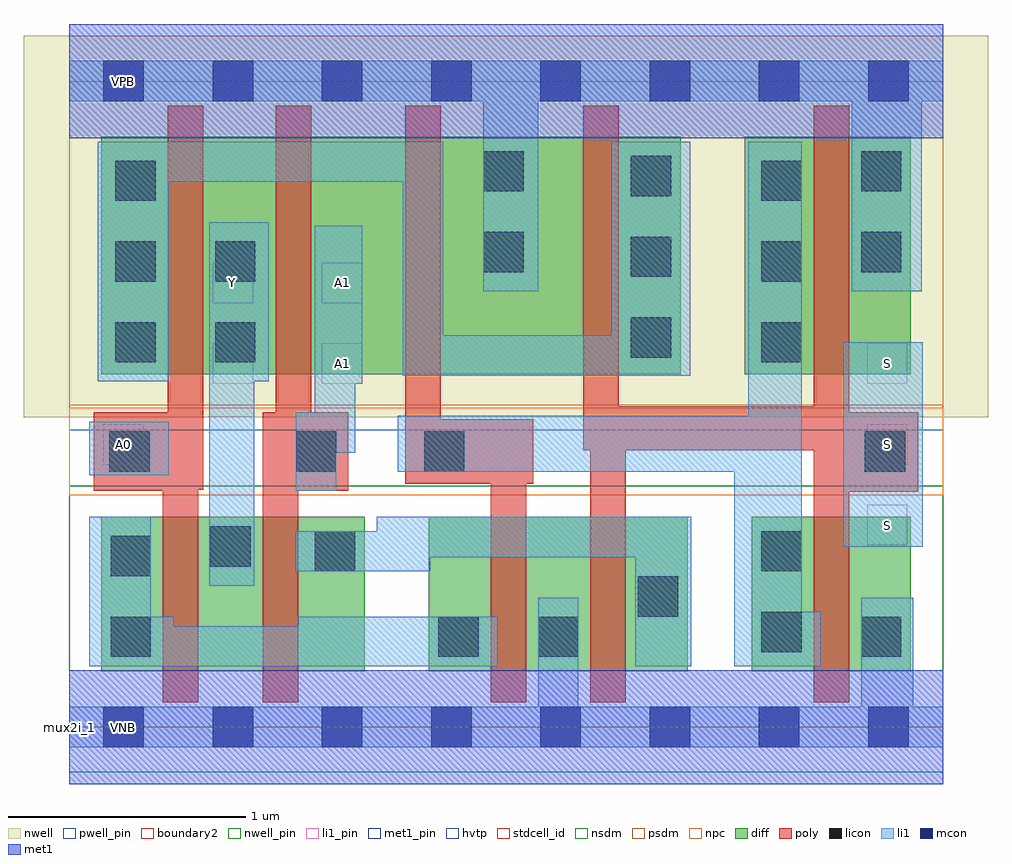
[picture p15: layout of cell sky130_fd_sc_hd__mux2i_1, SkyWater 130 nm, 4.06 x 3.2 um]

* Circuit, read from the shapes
.subckt sky130_fd_sc_hd__mux2i_1 A0 A1 S VGND VNB VPB VPWR Y
XM1 Y A0 n1 VNB sky130_fd_pr__nfet_01v8 w=0.65 l=0.15
XM2 n2 A1 Y VNB sky130_fd_pr__nfet_01v8 w=0.65 l=0.15
XM3 VGND n3 n1 VNB sky130_fd_pr__nfet_01v8 w=0.65 l=0.15
XM4 n2 S VGND VNB sky130_fd_pr__nfet_01v8 w=0.65 l=0.15
XM5 VGND S n3 VNB sky130_fd_pr__nfet_01v8 w=0.65 l=0.15
XM6 Y A0 n4 VPB sky130_fd_pr__pfet_01v8_hvt w=1 l=0.15
XM7 n5 A1 Y VPB sky130_fd_pr__pfet_01v8_hvt w=1 l=0.15
XM8 VPWR n3 n5 VPB sky130_fd_pr__pfet_01v8_hvt w=1 l=0.15
XM9 n4 S VPWR VPB sky130_fd_pr__pfet_01v8_hvt w=1 l=0.15
XM10 VPWR S n3 VPB sky130_fd_pr__pfet_01v8_hvt w=1 l=0.15
.ends

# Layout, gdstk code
import gdstk
lib = gdstk.Library(unit=1e-6, precision=1e-09)
def R(c, l, rs):  # rectangles x0, y0, x1, y1
    for r in rs: c.add(gdstk.rectangle(r[:2], r[2:], *l))
def A(c, l, x, y, w, h, nx, ny, dx, dy):  # array of equal rectangles
    R(c, l, [(x+i*dx, y+j*dy, x+i*dx+w, y+j*dy+h) for i in range(nx) for j in range(ny)])
def P(c, l, *ps):  # polygons
    for p in ps: c.add(gdstk.Polygon(p, *l))
nwell_pin = (64, 16)
nwell = (64, 20)
diff = (65, 20)
poly = (66, 20)
licon = (66, 44)
li1_pin = (67, 16)
li1 = (67, 20)
mcon = (67, 44)
met1_pin = (68, 16)
met1 = (68, 20)
hvtp = (78, 44)
stdcell_id = (81, 4)
nsdm = (93, 44)
psdm = (94, 20)
npc = (95, 20)
pwell_pin = (122, 16)
boundary2 = (236, 0)

sky130_fd_sc_hd__mux2i_1 = lib.new_cell('sky130_fd_sc_hd__mux2i_1')
R(sky130_fd_sc_hd__mux2i_1, nwell_pin, [(0.145,2.635,0.315,2.805)])
R(sky130_fd_sc_hd__mux2i_1, nwell, [(-0.19,1.305,3.87,2.91)])
R(sky130_fd_sc_hd__mux2i_1, diff, [(0.135,0.235,1.245,0.885), (1.515,0.235,2.605,0.885), (2.875,0.235,3.545,0.885), (0.135,1.485,2.575,2.485), (2.845,1.485,3.545,2.485)])
R(sky130_fd_sc_hd__mux2i_1, poly, [(1.775,0.105,1.925,1.025), (2.195,0.105,2.345,1.165)])
P(sky130_fd_sc_hd__mux2i_1, poly, [(0.395,0.105),(0.395,0.995),(0.105,0.995),(0.105,1.325),(0.415,1.325),(0.415,2.615),(0.565,2.615),(0.565,1),(0.545,1),(0.545,0.105)],
  [(0.815,0.105),(0.815,1.325),(0.87,1.325),(0.87,2.615),(1.02,2.615),(1.02,1.325),(1.175,1.325),(1.175,0.995),(0.965,0.995),(0.965,0.105)],
  [(3.135,0.105),(3.135,1.165),(2.165,1.165),(2.165,2.615),(2.315,2.615),(2.315,1.35),(3.135,1.35),(3.135,2.615),(3.285,2.615),(3.285,1.325),(3.575,1.325),(3.575,0.99),(3.285,0.99),(3.285,0.105)],
  [(1.415,1.025),(1.415,2.615),(1.565,2.615),(1.565,1.295),(1.955,1.295),(1.955,1.025)])
A(sky130_fd_sc_hd__mux2i_1, licon, 0.195, 1.535, 0.17, 0.17, 1, 3, 0, 0.34)
A(sky130_fd_sc_hd__mux2i_1, licon, 2.915, 1.535, 0.17, 0.17, 1, 3, 0, 0.34)
A(sky130_fd_sc_hd__mux2i_1, licon, 2.365, 1.555, 0.17, 0.17, 1, 3, 0, 0.34)
R(sky130_fd_sc_hd__mux2i_1, licon, [(0.175,0.295,0.345,0.465), (1.555,0.295,1.725,0.465), (1.975,0.295,2.145,0.465), (3.335,0.295,3.505,0.465), (2.915,0.315,3.085,0.485), (2.395,0.465,2.565,0.635), (0.175,0.635,0.345,0.805), (1.035,0.655,1.205,0.825), (2.915,0.655,3.085,0.825), (0.595,0.675,0.765,0.845), (0.17,1.075,0.34,1.245), (0.955,1.075,1.125,1.245), (1.495,1.075,1.665,1.245), (3.35,1.075,3.52,1.245), (0.615,1.535,0.785,1.705), (0.615,1.875,0.785,2.045), (1.745,1.915,1.915,2.085), (3.335,1.915,3.505,2.085), (1.745,2.255,1.915,2.425), (3.335,2.255,3.505,2.425)])
A(sky130_fd_sc_hd__mux2i_1, li1_pin, 3.36, 0.765, 0.17, 0.17, 1, 3, 0, 0.34)
R(sky130_fd_sc_hd__mux2i_1, li1_pin, [(0.145,1.105,0.315,1.275), (0.605,1.445,0.775,1.615), (1.065,1.445,1.235,1.615), (0.605,1.785,0.775,1.955), (1.065,1.785,1.235,1.955)])
R(sky130_fd_sc_hd__mux2i_1, li1, [(3.26,0.76,3.595,1.62), (0.085,1.06,0.42,1.285)])
P(sky130_fd_sc_hd__mux2i_1, li1, [(0,-0.085),(0,0.085),(1.975,0.085),(1.975,0.545),(2.145,0.545),(2.145,0.085),(3.335,0.085),(3.335,0.545),(3.555,0.545),(3.555,0.085),(3.68,0.085),(3.68,-0.085)],
  [(1.745,1.835),(1.745,2.635),(0,2.635),(0,2.805),(3.68,2.805),(3.68,2.635),(3.59,2.635),(3.59,1.835),(3.295,1.835),(3.295,2.635),(1.975,2.635),(1.975,1.835)],
  [(0.59,0.595),(0.59,2.125),(0.84,2.125),(0.84,1.455),(0.78,1.455),(0.78,0.595)],
  [(0.955,0.995),(0.955,1.325),(1.035,1.325),(1.035,2.11),(1.235,2.11),(1.235,1.445),(1.205,1.445),(1.205,1.155),(1.125,1.155),(1.125,0.995)],
  [(0.085,0.255),(0.085,0.885),(0.345,0.885),(0.345,0.465),(0.44,0.465),(0.44,0.425),(0.965,0.425),(0.965,0.465),(1.805,0.465),(1.805,0.255)],
  [(0.12,1.455),(0.12,2.465),(1.575,2.465),(1.575,1.65),(2.285,1.65),(2.285,2.465),(2.615,2.465),(2.615,1.48),(1.405,1.48),(1.405,2.295),(0.42,2.295),(0.42,1.455)],
  [(2.385,0.255),(2.385,0.715),(1.52,0.715),(1.52,0.655),(0.955,0.655),(0.955,0.825),(1.295,0.825),(1.295,0.885),(2.62,0.885),(2.62,0.255)],
  [(2.8,0.255),(2.8,1.075),(1.385,1.075),(1.385,1.31),(2.86,1.31),(2.86,2.465),(3.085,2.465),(3.085,0.485),(3.165,0.485),(3.165,0.255)])
A(sky130_fd_sc_hd__mux2i_1, mcon, 0.145, -0.085, 0.17, 0.17, 8, 2, 0.46, 2.72)
R(sky130_fd_sc_hd__mux2i_1, met1_pin, [(0.145,-0.085,0.315,0.085), (0.145,2.635,0.315,2.805)])
R(sky130_fd_sc_hd__mux2i_1, hvtp, [(0,1.25,3.68,2.72)])
R(sky130_fd_sc_hd__mux2i_1, stdcell_id, [(0,0,3.68,2.72)])
R(sky130_fd_sc_hd__mux2i_1, nsdm, [(0,-0.19,3.68,1.015)])
R(sky130_fd_sc_hd__mux2i_1, psdm, [(0,1.355,3.68,2.91)])
R(sky130_fd_sc_hd__mux2i_1, npc, [(0,0.975,3.68,1.345)])
R(sky130_fd_sc_hd__mux2i_1, pwell_pin, [(0.145,-0.085,0.315,0.085)])
R(sky130_fd_sc_hd__mux2i_1, boundary2, [(0,0,3.68,2.72)])
sky130_fd_sc_hd__mux2i_1.add(gdstk.FlexPath([(0,2.72),(3.68,2.72)], 0.48, ends="flush", simple_path=True, layer=68, datatype=20))  # met1
sky130_fd_sc_hd__mux2i_1.add(gdstk.FlexPath([(0,0),(3.68,0)], 0.48, ends="flush", simple_path=True, layer=68, datatype=20))  # met1
sky130_fd_sc_hd__mux2i_1.add(gdstk.Label('A1', (1.15,1.87), layer=67, texttype=5))
sky130_fd_sc_hd__mux2i_1.add(gdstk.Label('S', (3.445,1.19), layer=67, texttype=5))
sky130_fd_sc_hd__mux2i_1.add(gdstk.Label('S', (3.445,0.85), layer=67, texttype=5))
sky130_fd_sc_hd__mux2i_1.add(gdstk.Label('S', (3.445,1.53), layer=67, texttype=5))
sky130_fd_sc_hd__mux2i_1.add(gdstk.Label('A0', (0.23,1.19), layer=67, texttype=5))
sky130_fd_sc_hd__mux2i_1.add(gdstk.Label('A1', (1.15,1.53), layer=67, texttype=5))
sky130_fd_sc_hd__mux2i_1.add(gdstk.Label('Y', (0.69,1.87), layer=67, texttype=5))
sky130_fd_sc_hd__mux2i_1.add(gdstk.Label('VNB', (0.23,0), layer=64, texttype=59))
sky130_fd_sc_hd__mux2i_1.add(gdstk.Label('VPB', (0.23,2.72), layer=64, texttype=5))
sky130_fd_sc_hd__mux2i_1.add(gdstk.Label('VGND', (0.23,0), layer=68, texttype=5))
sky130_fd_sc_hd__mux2i_1.add(gdstk.Label('VPWR', (0.23,2.72), layer=68, texttype=5))
sky130_fd_sc_hd__mux2i_1.add(gdstk.Label('mux2i_1', (0,0), layer=83, texttype=44))

lib.write_gds('sky130_fd_sc_hd__mux2i_1.gds')
